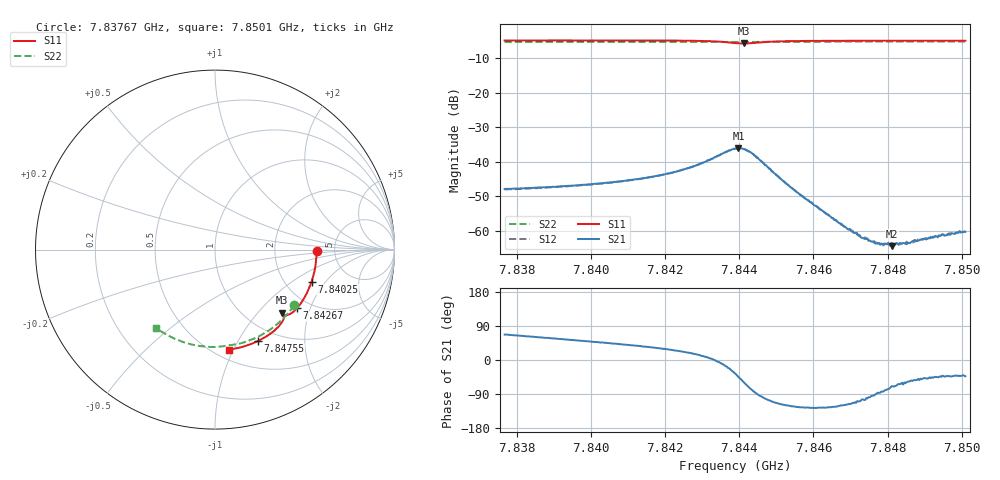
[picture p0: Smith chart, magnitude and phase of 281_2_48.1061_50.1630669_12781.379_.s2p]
#  HZ  S  RI  R  50.00
! Rohde & Schwarz Vector Network Analyzer
! Rohde-Schwarz,ZNB20-2Port,1311601062101988,3.16
! Created: UTC 12/23/2023, 4:02:45 AM
! freq[Hz]  re:S11  im:S11  re:S21  im:S21  re:S12  im:S12  re:S22  im:S22
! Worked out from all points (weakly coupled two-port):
!   401 points, 7.83767 GHz to 7.8501 GHz, reference 50 ohm
!   highest |S21| = -36.07 dB at 7.84398 GHz (marker M1); lowest = -64.4 dB at 7.84811 GHz (marker M2)
!   lowest |S11| = -5.8 dB at 7.84413 GHz (marker M3), VSWR 3.10, Z = 71.2 - j68 ohm
!   |S11| at or under -10 dB: nowhere
!   |S22| runs from -5.4 to -5.3 dB; largest |S21 - S12| = 0.00038
!   S11 on the Smith chart (normalised r, x): 7.83767 GHz: 3.61, -0.09; 7.84025 GHz: 2.77, -1.45; 7.84267 GHz: 1.70, -1.63; 7.84755 GHz: 0.81, -1.21; 7.8501 GHz: 0.59, -0.96
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7.837672e9  0.5665 -0.00875  0.00156 0.00372  0.00158 0.00363  0.4421 -0.3096
7.839753e9  0.5478 -0.146  0.00293 0.00358  0.00287 0.00357  0.3441 -0.417
7.84025e9  0.5381 -0.1782  0.00337 0.0035  0.00329 0.0035  0.3165 -0.4384
7.841835e9  0.4928 -0.2771  0.00542 0.00327  0.00537 0.00326  0.2207 -0.4944
7.842673e9  0.4567 -0.3269  0.00784 0.00263  0.00777 0.00263  0.1655 -0.5156
7.84345e9  0.4068 -0.3638  0.0123 -0.00113  0.0122 -0.00102  0.1125 -0.5287
7.843885e9  0.3748 -0.3612  0.0126 -0.00899  0.0124 -0.00893  0.0832 -0.5325
7.843978e9  0.372 -0.3574  0.0112 -0.0111  0.0112 -0.0108  0.0775 -0.5332
7.844133e9  0.3726 -0.352  0.00763 -0.0132  0.00761 -0.0131  0.0679 -0.5346
7.844351e9  0.3802 -0.3542  0.00226 -0.013  0.00238 -0.0128  0.054 -0.5371
7.845283e9  0.3652 -0.416  -0.00235 -0.00414  -0.00234 -0.00415  -0.011 -0.5429
7.845966e9  0.3304 -0.4516  -0.00148 -0.00201  -0.00147 -0.00207  -0.0593 -0.5404
7.846867e9  0.279 -0.4878  -0.000544 -0.00099  -0.00055 -0.000999  -0.122 -0.5305
7.847302e9  0.2532 -0.5023  -0.000199 -0.000768  -0.000233 -0.000786  -0.1515 -0.523
7.847551e9  0.2382 -0.5098  -7.02e-05 -0.000703  -7.32e-05 -0.0007  -0.1682 -0.518
7.847861e9  0.2189 -0.5186  7.33e-05 -0.000643  8.45e-05 -0.000626  -0.1888 -0.511
7.848048e9  0.2073 -0.5234  0.000159 -0.000618  0.000157 -0.000594  -0.2012 -0.5065
7.84811e9  0.2035 -0.5247  0.000213 -0.000561  0.000181 -0.000645  -0.2052 -0.5049
7.848638e9  0.1702 -0.5366  0.000404 -0.000557  0.000403 -0.000567  -0.2392 -0.49
7.848856e9  0.1563 -0.5409  0.00044 -0.00058  0.00047 -0.000584  -0.2529 -0.4832
7.849446e9  0.118 -0.5502  0.000612 -0.000605  0.000615 -0.000608  -0.2889 -0.4629
7.850098e9  0.0752 -0.5575  0.00071 -0.000664  0.000744 -0.000648  -0.3269 -0.4373
